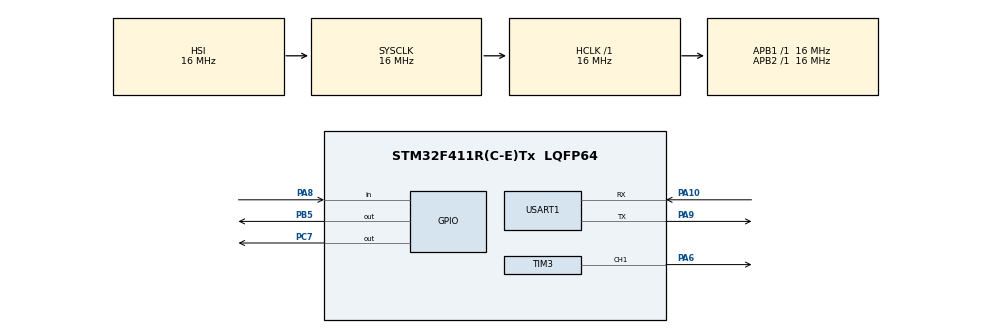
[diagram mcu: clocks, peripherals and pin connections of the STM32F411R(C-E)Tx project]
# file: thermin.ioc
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Mcu.Family=STM32F4
Mcu.Name=STM32F411R(C-E)Tx
Mcu.Package=LQFP64
NVIC.PriorityGroup=NVIC_PRIORITYGROUP_4
NVIC.TIM2_IRQn=true\:0\:0\:false\:false\:true\:true
PA10.Mode=Asynchronous
PA10.Signal=USART1_RX
PA6.Signal=S_TIM3_CH1
PA8.Signal=GPIO_Input
PA9.Mode=Asynchronous
PA9.Signal=USART1_TX
PB5.Signal=GPIO_Output
PC7.Signal=GPIO_Output
ProjectManager.HeapSize=0x200
ProjectManager.StackSize=0x400
ProjectManager.TargetToolchain=Makefile
RCC.AHBFreq_Value=16000000
RCC.APB1Freq_Value=16000000
RCC.APB2Freq_Value=16000000
RCC.CortexFreq_Value=16000000
RCC.HSE_VALUE=25000000
RCC.HSI_VALUE=16000000
RCC.LSE_VALUE=32768
RCC.SYSCLKFreq_VALUE=16000000
RCC.VCOOutputFreq_Value=192000000
SH.S_TIM3_CH1.0=TIM3_CH1,PWM Generation1 CH1
TIM3.Channel-PWM\ Generation1\ CH1=TIM_CHANNEL_1
USART1.VirtualMode=VM_ASYNC
VP_TIM2_VS_ClockSourceINT.Mode=Internal
board=custom

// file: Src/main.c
/* USER CODE BEGIN Header */
/**
  ******************************************************************************
  * @file           : main.c
  * @brief          : Main program body
  ******************************************************************************
  ** This notice applies to any and all portions of this file
  * that are not between comment pairs USER CODE BEGIN and
  * USER CODE END. Other portions of this file, whether
  * inserted by the user or by software development tools
  * are owned by their respective copyright owners.
  *
  * COPYRIGHT(c) 2019 STMicroelectronics
  *
  * Redistribution and use in source and binary forms, with or without modification,
  * are permitted provided that the following conditions are met:
  *   1. Redistributions of source code must retain the above copyright notice,
  *      this list of conditions and the following disclaimer.
  *   2. Redistributions in binary form must reproduce the above copyright notice,
  *      this list of conditions and the following disclaimer in the documentation
  *      and/or other materials provided with the distribution.
  *   3. Neither the name of STMicroelectronics nor the names of its contributors
  *      may be used to endorse or promote products derived from this software
  *      without specific prior written permission.
  *
  * THIS SOFTWARE IS PROVIDED BY THE COPYRIGHT HOLDERS AND CONTRIBUTORS "AS IS"
  * AND ANY EXPRESS OR IMPLIED WARRANTIES, INCLUDING, BUT NOT LIMITED TO, THE
  * IMPLIED WARRANTIES OF MERCHANTABILITY AND FITNESS FOR A PARTICULAR PURPOSE ARE
  * DISCLAIMED. IN NO EVENT SHALL THE COPYRIGHT HOLDER OR CONTRIBUTORS BE LIABLE
  * FOR ANY DIRECT, INDIRECT, INCIDENTAL, SPECIAL, EXEMPLARY, OR CONSEQUENTIAL
  * DAMAGES (INCLUDING, BUT NOT LIMITED TO, PROCUREMENT OF SUBSTITUTE GOODS OR
  * SERVICES; LOSS OF USE, DATA, OR PROFITS; OR BUSINESS INTERRUPTION) HOWEVER
  * CAUSED AND ON ANY THEORY OF LIABILITY, WHETHER IN CONTRACT, STRICT LIABILITY,
  * OR TORT (INCLUDING NEGLIGENCE OR OTHERWISE) ARISING IN ANY WAY OUT OF THE USE
  * OF THIS SOFTWARE, EVEN IF ADVISED OF THE POSSIBILITY OF SUCH DAMAGE.
  *
  ******************************************************************************
  */
/* USER CODE END Header */

#include "main.h"

#include "dwt_delay.h"

TIM_HandleTypeDef htim2;
TIM_HandleTypeDef htim3;

UART_HandleTypeDef huart1;

void SystemClock_Config(void);
static void MX_GPIO_Init(void);
static void MX_USART1_UART_Init(void);
static void MX_TIM3_Init(void);
static void MX_TIM2_Init(void);

uint32_t pulseIn(void);
uint8_t getDistance(uint8_t time);
void delay_microsec(uint32_t microseconds);

int main(void)
{

  /* MCU Configuration--------------------------------------------------------*/

  /* Reset of all peripherals, Initializes the Flash interface and the Systick. */
  HAL_Init();

  /* Configure the system clock */
  SystemClock_Config();

  /* Initialize all configured peripherals */
  MX_GPIO_Init();
  MX_USART1_UART_Init();
  MX_TIM3_Init();
  MX_TIM2_Init();
  /* USER CODE BEGIN 2 */
  uint8_t duration = 0;
  uint8_t distance = 0;
  unsigned char buffer[64] = "Begin\r\n";
  HAL_UART_Transmit(&huart1, buffer, sizeof(buffer), HAL_MAX_DELAY);
  DWT_Init();
  /* USER CODE END 2 */

  /* Infinite loop */
  /* USER CODE BEGIN WHILE */
  while (1)
  {
      DWT_Delay(1000000); // 1 second
      HAL_UART_Transmit(&huart1, "second", sizeof("second"), HAL_MAX_DELAY);
  }
  /* USER CODE END 3 */
}

void SystemClock_Config(void)
{
  RCC_OscInitTypeDef RCC_OscInitStruct = {0};
  RCC_ClkInitTypeDef RCC_ClkInitStruct = {0};

  /**Configure the main internal regulator output voltage
  */
  __HAL_RCC_PWR_CLK_ENABLE();
  __HAL_PWR_VOLTAGESCALING_CONFIG(PWR_REGULATOR_VOLTAGE_SCALE1);
  /**Initializes the CPU, AHB and APB busses clocks
  */
  RCC_OscInitStruct.OscillatorType = RCC_OSCILLATORTYPE_HSI;
  RCC_OscInitStruct.HSIState = RCC_HSI_ON;
  RCC_OscInitStruct.HSICalibrationValue = RCC_HSICALIBRATION_DEFAULT;
  RCC_OscInitStruct.PLL.PLLState = RCC_PLL_NONE;
  if (HAL_RCC_OscConfig(&RCC_OscInitStruct) != HAL_OK)
  {
    Error_Handler();
  }
  /**Initializes the CPU, AHB and APB busses clocks
  */
  RCC_ClkInitStruct.ClockType = RCC_CLOCKTYPE_HCLK|RCC_CLOCKTYPE_SYSCLK
                              |RCC_CLOCKTYPE_PCLK1|RCC_CLOCKTYPE_PCLK2;
  RCC_ClkInitStruct.SYSCLKSource = RCC_SYSCLKSOURCE_HSI;
  RCC_ClkInitStruct.AHBCLKDivider = RCC_SYSCLK_DIV1;
  RCC_ClkInitStruct.APB1CLKDivider = RCC_HCLK_DIV1;
  RCC_ClkInitStruct.APB2CLKDivider = RCC_HCLK_DIV1;

  if (HAL_RCC_ClockConfig(&RCC_ClkInitStruct, FLASH_LATENCY_0) != HAL_OK)
  {
    Error_Handler();
  }
}

static void MX_TIM2_Init(void)
{

    TIM_ClockConfigTypeDef sClockSourceConfig = {0};
    TIM_MasterConfigTypeDef sMasterConfig = {0};

    htim2.Instance = TIM2; // 16MHz
    htim2.Init.Prescaler = 15999;
    htim2.Init.CounterMode = TIM_COUNTERMODE_UP;
    htim2.Init.Period = 999; // 10 microseconds
    htim2.Init.ClockDivision = TIM_CLOCKDIVISION_DIV1;
    if (HAL_TIM_Base_Init(&htim2) != HAL_OK)
    {
        Error_Handler();
    }
    sClockSourceConfig.ClockSource = TIM_CLOCKSOURCE_INTERNAL;
    if (HAL_TIM_ConfigClockSource(&htim2, &sClockSourceConfig) != HAL_OK)
    {
        Error_Handler();
    }
    sMasterConfig.MasterOutputTrigger = TIM_TRGO_RESET;
    sMasterConfig.MasterSlaveMode = TIM_MASTERSLAVEMODE_DISABLE;
    if (HAL_TIMEx_MasterConfigSynchronization(&htim2, &sMasterConfig) != HAL_OK)
    {
        Error_Handler();
    }

}

static void MX_TIM3_Init(void)
{

    TIM_MasterConfigTypeDef sMasterConfig = {0};
    TIM_OC_InitTypeDef sConfigOC = {0};

    htim3.Instance = TIM3; // 16MHz
    htim3.Init.Prescaler = 15999;
    htim3.Init.CounterMode = TIM_COUNTERMODE_UP;
    htim3.Init.Period = 99; // 10 seconds
    htim3.Init.ClockDivision = TIM_CLOCKDIVISION_DIV1;
    if (HAL_TIM_PWM_Init(&htim3) != HAL_OK)
    {
        Error_Handler();
    }
    sMasterConfig.MasterOutputTrigger = TIM_TRGO_RESET;
    sMasterConfig.MasterSlaveMode = TIM_MASTERSLAVEMODE_DISABLE;
    if (HAL_TIMEx_MasterConfigSynchronization(&htim3, &sMasterConfig) != HAL_OK)
    {
        Error_Handler();
    }
    sConfigOC.OCMode = TIM_OCMODE_PWM1;
    sConfigOC.Pulse = 0;
    sConfigOC.OCPolarity = TIM_OCPOLARITY_HIGH;
    sConfigOC.OCFastMode = TIM_OCFAST_DISABLE;
    if (HAL_TIM_PWM_ConfigChannel(&htim3, &sConfigOC, TIM_CHANNEL_1) != HAL_OK)
    {
        Error_Handler();
    }
    HAL_TIM_MspPostInit(&htim3);

}

static void MX_USART1_UART_Init(void)
{

    huart1.Instance = USART1;
    huart1.Init.BaudRate = 115200;
    huart1.Init.WordLength = UART_WORDLENGTH_8B;
    huart1.Init.StopBits = UART_STOPBITS_1;
    huart1.Init.Parity = UART_PARITY_NONE;
    huart1.Init.Mode = UART_MODE_TX_RX;
    huart1.Init.HwFlowCtl = UART_HWCONTROL_NONE;
    huart1.Init.OverSampling = UART_OVERSAMPLING_16;
    if (HAL_UART_Init(&huart1) != HAL_OK)
    {
        Error_Handler();
    }

}

static void MX_GPIO_Init(void)
{
  GPIO_InitTypeDef GPIO_InitStruct = {0};

  /* GPIO Ports Clock Enable */
  __HAL_RCC_GPIOA_CLK_ENABLE();
  __HAL_RCC_GPIOC_CLK_ENABLE();
  __HAL_RCC_GPIOB_CLK_ENABLE();

  /*Configure GPIO pin Output Level */
  HAL_GPIO_WritePin(GPIOC, GPIO_PIN_7, GPIO_PIN_RESET);

  /*Configure GPIO pin Output Level */
  HAL_GPIO_WritePin(GPIOB, GPIO_PIN_5, GPIO_PIN_RESET);

  /*Configure GPIO pin : PC7 */
  GPIO_InitStruct.Pin = GPIO_PIN_7;
  GPIO_InitStruct.Mode = GPIO_MODE_OUTPUT_PP;
  GPIO_InitStruct.Pull = GPIO_NOPULL;
  GPIO_InitStruct.Speed = GPIO_SPEED_FREQ_LOW;
  HAL_GPIO_Init(GPIOC, &GPIO_InitStruct);

  /*Configure GPIO pin : PA8 */
  GPIO_InitStruct.Pin = GPIO_PIN_8;
  GPIO_InitStruct.Mode = GPIO_MODE_INPUT;
  GPIO_InitStruct.Pull = GPIO_NOPULL;
  HAL_GPIO_Init(GPIOA, &GPIO_InitStruct);

  /*Configure GPIO pin : PB5 */
  GPIO_InitStruct.Pin = GPIO_PIN_5;
  GPIO_InitStruct.Mode = GPIO_MODE_OUTPUT_PP;
  GPIO_InitStruct.Pull = GPIO_NOPULL;
  GPIO_InitStruct.Speed = GPIO_SPEED_FREQ_LOW;
  HAL_GPIO_Init(GPIOB, &GPIO_InitStruct);

}

/* USER CODE BEGIN 4 */

/**
 * Waits that the signal of echo goes to high, starts a timer
 * and waits the echo signal to go back high.
 * It returns the length of the pulse in microseconds
 * @return length of the pulse in microseconds
 */
uint32_t pulseIn(void) {
    uint32_t prevTick, curTick;
    unsigned char buffer[64] = "in pulseIn()";
    HAL_UART_Transmit(&huart1, buffer, sizeof(buffer), HAL_MAX_DELAY);

    while (HAL_GPIO_ReadPin(GPIOA, GPIO_PIN_8) == GPIO_PIN_RESET)
        ;
    sprintf(buffer, "now high\r\n");
    HAL_UART_Transmit(&huart1, buffer, sizeof(buffer), HAL_MAX_DELAY);
    // Now signal is high. Wait it goes low
    prevTick = HAL_GetTick();
    while (HAL_GPIO_ReadPin(GPIOA, GPIO_PIN_8) ==  GPIO_PIN_SET)
        ;
    sprintf(buffer, "now low\r\n");
    HAL_UART_Transmit(&huart1, buffer, sizeof(buffer), HAL_MAX_DELAY);
    // Now signal is low
    curTick = HAL_GetTick();
    return curTick - prevTick;
}

/**
 * Time to distance
 * @param duration pulse duration
 * @return the distance
 */
uint8_t getDistance(uint8_t duration) {
    return duration * 0.034 / 2; // /2 because the signal bounces on the obstacle
}

void delay_ticks(unsigned ticks)
{
    SysTick->LOAD = ticks;
    SysTick->VAL = 0;
    SysTick->CTRL = SysTick_CTRL_ENABLE_Msk;

    // COUNTFLAG is a bit that is set to 1 when counter reaches 0.
    // It's automatically cleared when read.
    while ((SysTick->CTRL & SysTick_CTRL_COUNTFLAG_Msk) == 0);
    SysTick->CTRL = 0;
}

/**
 * Delay some microseconds
 * @param microseconds how long to wait?
 */
void delay_microsec(uint32_t microseconds) {
    /*uint32_t curTick = HAL_GetTick();

    /* Wait till done *
    while (HAL_GetTick() - curTick < microseconds)
        ;*/
    #define STM32_SYSCLK 16000000
    delay_ticks((microseconds * (STM32_SYSCLK / 8)) / 1000000);
}

/* USER CODE END 4 */

void Error_Handler(void)
{
}

/************************ (C) COPYRIGHT STMicroelectronics *****END OF FILE****/
